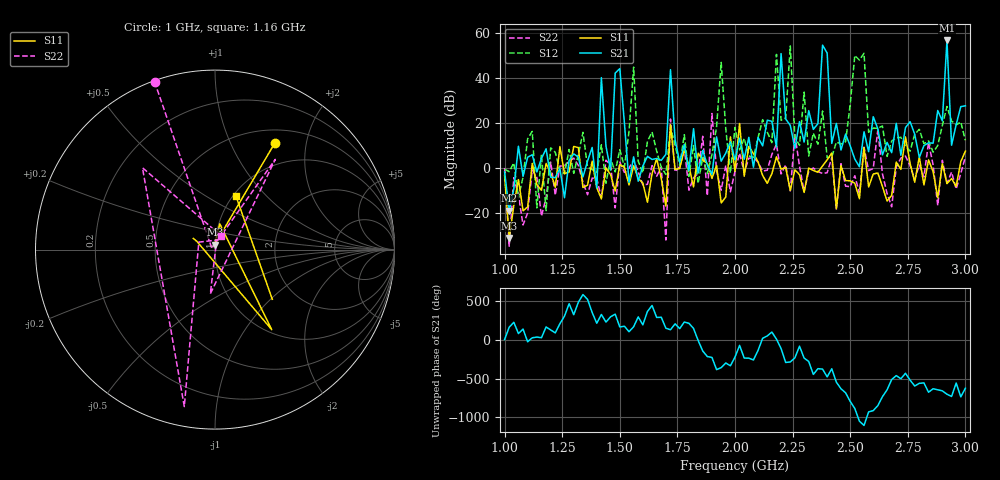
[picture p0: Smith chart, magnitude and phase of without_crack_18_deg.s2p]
# MHz S MA R 50
!  freq  S11  S21  S12  S22
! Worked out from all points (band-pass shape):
!   101 points, 1 GHz to 3 GHz, reference 50 ohm
!   highest |S21| = 56.64 dB at 2.92 GHz (marker M1); lowest = -19.1 dB at 1.02 GHz (marker M2)
!   |S21| within 3 dB of the highest: 2.379465 GHz to 2.385281 GHz (5.816 MHz wide, 0.244 % of centre); 2.918323 GHz to 2.921288 GHz (2.966 MHz wide, 0.102 % of centre)
!   lowest |S11| = -31.2 dB at 1.02 GHz (marker M3), VSWR 1.06, Z = 49.7 + j2.74 ohm
!   |S11| at or under -10 dB: 1.005 GHz to 1.052 GHz (46.94 MHz wide, 4.57 % of centre); 1.067 GHz to 1.108 GHz (40.77 MHz wide, 3.75 % of centre); 1.933 GHz to 1.962 GHz (28.92 MHz wide, 1.48 % of centre) (the widest 3 of 13)
!   |S22| runs from -34.8 to 24.2 dB; largest |S21 - S12| = 6.8e+02
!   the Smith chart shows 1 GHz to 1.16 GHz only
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1000  0.6788 60.7  0.8096 6.1  0.9323 -172.8  0.9942 109.8
1020  0.02755 93.7  0.1107 166.1  0.8217 -6.6  0.01814 160.4
1340  0.3657 98.9  0.628 -131.2  6.161 -69.9  0.4759 106.0
1680  0.5785 64.0  1.472 -65.7  1.028 -78.1  1.041 137.0
2000  0.8384 165.7  1.5 138.1  7.899 31.6  0.8275 109.0
2180  1.761 106.8  2.918 11.2  333.9 -56.9  3.336 83.2
2200  0.9354 98.1  346.1 -111.3  11.43 164.7  0.7316 112.6
2220  1.016 -116.0  12.21 69.0  12.8 -154.2  1.164 -115.8
2240  0.3135 -112.8  8.778 75.5  513.4 -20.0  0.3063 -122.8
2260  0.9031 94.9  2.723 128.7  4.799 -100.8  5.44 171.1
2340  0.877 81.0  7.162 -86.2  5.943 -134.3  0.9928 80.9
2380  1.1 73.6  535.3 -17.5  18.29 132.7  0.7499 78.0
2400  1.503 54.5  356.2 -118.2  1.688 143.6  0.7789 49.2
2500  0.5145 151.2  3.086 -75.7  25.87 -96.3  0.3817 164.6
2520  0.454 145.0  1.563 -167.6  315 65.7  0.6685 134.7
2560  2.845 -137.8  6.334 -27.4  352.4 -83.6  2.87 -173.4
2580  0.3748 153.2  2.286 148.6  6.185 103.9  0.8692 106.4
2680  0.2445 -65.5  2.175 -152.7  3.953 -164.3  0.1362 41.5
2900  1.234 57.6  11.05 60.7  8.778 -141.7  1.468 48.9
2920  0.4462 -28.0  679.1 17.4  23.12 104.3  0.4523 -35.0
2940  0.5771 -15.4  3.188 -11.7  11.02 -2.4  0.8044 0.8
3000  2.352 -78.7  23.92 94.7  4.084 -108.0  1.766 -86.7
